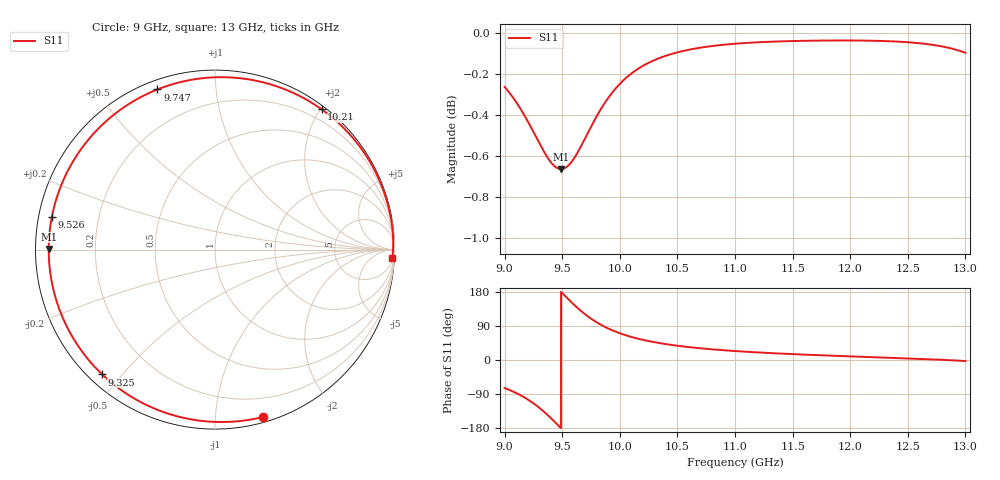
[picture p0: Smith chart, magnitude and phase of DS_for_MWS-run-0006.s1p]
! TOUCHSTONE file generated by CST DESIGN STUDIO
! Date and time: Tue Feb  4 14:23:04 2025
! Project name: C:\Work\MatlabApps\UnitCellOptimizationMatlab\CST\unitcell.cst
! Tree item: Tasks\Sweep1\SPara1\S-Parameters
! Header version: 2024
! Port assignment regex: !\s*Touchstone port\s*([0-9]+)\s*=\s*(CST MWS port|CST DES external port|CST DES block port)\s*(.+)\s* \(\"(.*)\"\)(\s*mode\s*([0-9]+))?.*
! Touchstone port assignment:
! Touchstone port 1 = CST DES external port 1 ("")
# GHz S MA R 50
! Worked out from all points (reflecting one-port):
!   4001 points, 9 GHz to 13 GHz, reference 50 ohm
!   lowest |S11| = -0.7 dB at 9.49 GHz (marker M1), VSWR 26.21, Z = 1.91 + j0.0961 ohm
!   phase of S11 starts at -74 deg and turns -289 deg over the sweep
!   S11 on the Smith chart (normalised r, x): 9 GHz: 0.04, -1.32; 9.325 GHz: 0.04, -0.44; 9.526 GHz: 0.04, +0.10; 9.747 GHz: 0.04, +0.70; 10.21 GHz: 0.05, +2.02; 13 GHz: 9, -38
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9  0.9701 -74.1
9.086  0.9632 -85.0
9.188  0.953 -101.7
9.259  0.9449 -116.2
9.325  0.9373 -132.1
9.369  0.9328 -144.0
9.415  0.9291 -157.3
9.453  0.9271 -168.8
9.49  0.9265 179.8
9.5  0.9265 176.7
9.526  0.9271 168.6
9.578  0.93 152.9
9.639  0.9357 135.7
9.692  0.9418 122.2
9.747  0.9483 109.8
9.854  0.9599 90.0
9.926  0.9663 79.5
10  0.9717 70.6
10.098  0.9773 61.1
10.207  0.9818 52.8
10.342  0.9858 44.8
10.5  0.989 37.7
10.722  0.9918 30.3
11  0.9938 23.6
11.5  0.9953 15.5
12  0.9956 9.6
12.5  0.9946 4.3
13  0.9888 -2.9
